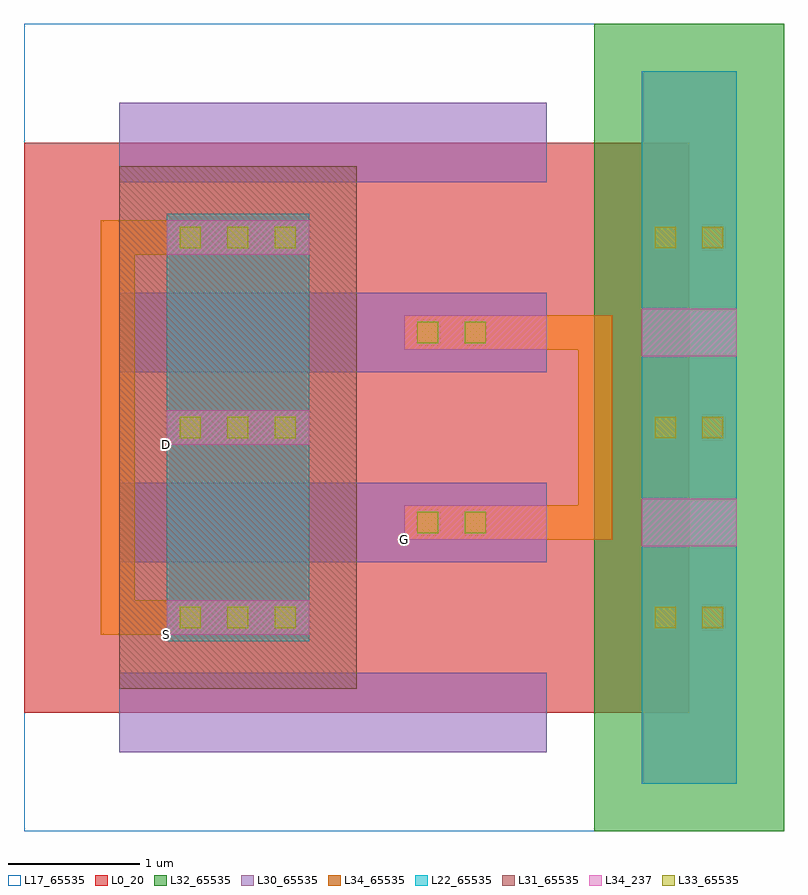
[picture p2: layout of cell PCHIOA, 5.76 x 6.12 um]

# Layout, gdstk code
import gdstk
lib = gdstk.Library(unit=1e-6, precision=1e-09)
def R(c, l, rs):  # rectangles x0, y0, x1, y1
    for r in rs: c.add(gdstk.rectangle(r[:2], r[2:], *l))
def A(c, l, x, y, w, h, nx, ny, dx, dy):  # array of equal rectangles
    R(c, l, [(x+i*dx, y+j*dy, x+i*dx+w, y+j*dy+h) for i in range(nx) for j in range(ny)])
L0_20 = (0, 20)
L17_65535 = (17, 65535)
L22_65535 = (22, 65535)
L30_65535 = (30, 65535)
L31_65535 = (31, 65535)
L32_65535 = (32, 65535)
L33_65535 = (33, 65535)
L34_237 = (34, 237)
L34_65535 = (34, 65535)

pchio = lib.new_cell('PCHIO')
R(pchio, L0_20, [(0,0,5.04,2.88)])
R(pchio, L17_65535, [(0,-0.9,5.76,3.78)])
A(pchio, L22_65535, 4.68, -0.54, 0.72, 0.36, 1, 11, 0, 0.36)
A(pchio, L22_65535, 1.08, 0.54, 1.08, 0.36, 1, 5, 0, 0.36)
A(pchio, L30_65535, 0.72, -0.3, 3.24, 0.6, 1, 3, 0, 1.44)
R(pchio, L31_65535, [(0.72,0.18,2.52,2.7)])
R(pchio, L32_65535, [(4.32,-0.9,5.76,3.78)])
A(pchio, L33_65535, 1.18, 0.64, 0.16, 0.16, 3, 2, 0.36, 1.44)
R(pchio, L33_65535, [(4.78,0.64,4.94,0.8), (5.14,0.64,5.3,0.8), (2.98,1.36,3.14,1.52), (3.34,1.36,3.5,1.52), (4.78,2.08,4.94,2.24), (5.14,2.08,5.3,2.24)])
R(pchio, L34_237, [(1.08,0.59,2.16,0.85), (4.68,1.26,5.4,1.62), (2.88,1.31,3.96,1.57), (1.08,2.03,2.16,2.29)])
A(pchio, L34_65535, 4.68, -0.54, 0.72, 0.36, 1, 11, 0, 0.36)
R(pchio, L34_65535, [(1.08,0.59,2.16,0.85), (2.88,1.31,3.96,1.57), (1.08,2.03,2.16,2.29)])
pchio.add(gdstk.Label('G', (2.88,1.31), layer=34, texttype=237))
pchio.add(gdstk.Label('S', (1.08,0.59), layer=34, texttype=237))
pchio.add(gdstk.Label('B', (4.68,1.26), layer=34, texttype=237))
pchio.add(gdstk.Label('D', (1.08,2.03), layer=34, texttype=237))

pchioa = lib.new_cell('PCHIOA')
R(pchioa, L0_20, [(0,0,5.04,4.32)])
R(pchioa, L34_237, [(1.08,0.59,2.16,0.85), (2.88,1.31,3.96,1.57), (1.08,2.03,2.16,2.29)])
R(pchioa, L34_65535, [(0.58,0.59,1.62,0.85), (0.58,0.59,0.84,3.73), (3.42,1.31,4.2,1.57), (4.2,1.31,4.46,3.01), (3.42,2.75,4.2,3.01), (0.58,3.47,1.62,3.73)])
pchioa.add(gdstk.Reference(pchio, (0,0)))
pchioa.add(gdstk.Reference(pchio, (0,1.44)))
pchioa.add(gdstk.Label('S', (1.08,0.59), layer=58, texttype=65535))
pchioa.add(gdstk.Label('G', (2.88,1.31), layer=58, texttype=65535))
pchioa.add(gdstk.Label('D', (1.08,2.03), layer=34, texttype=237))
pchioa.add(gdstk.Label('G', (2.88,1.31), layer=34, texttype=237))
pchioa.add(gdstk.Label('S', (1.08,0.59), layer=34, texttype=237))

lib.write_gds('PCHIOA.gds')
